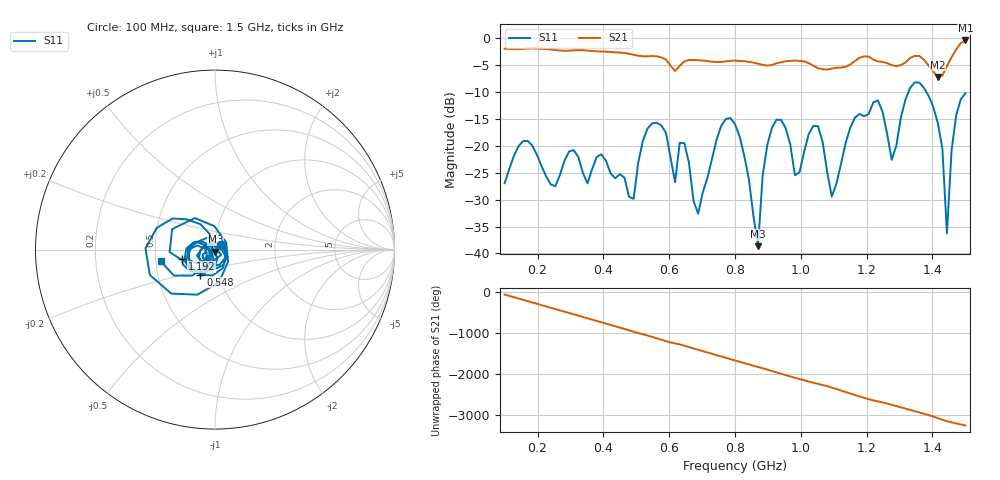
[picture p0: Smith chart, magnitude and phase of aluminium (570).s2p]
! NanoVNA-App
! Date: 2025-09-25 14:59:43
! Start: 100MHz Stop: 1,5GHz Points: 101
! S-Parameter data: F S11 S21 S12 S22
# Hz S RI R 50
!  Frequency  S11_Real  S11_Imag  S21_Real  S21_Imag  S12_Real  S12_Imag  S22_Real  S22_Imag
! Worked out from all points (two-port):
!   101 points, 100 MHz to 1.5 GHz, reference 50 ohm
!   highest |S21| = -0.40 dB at 1.5 GHz (marker M1); lowest = -7.2 dB at 1.416 GHz (marker M2)
!   |S21| within 3 dB of the highest: start of sweep to 565.6 MHz; 1.459 GHz to end of sweep (the widest 2 of 4)
!   lowest |S11| = -38.6 dB at 870 MHz (marker M3), VSWR 1.02, Z = 50.2 - j1.16 ohm
!   |S11| at or under -10 dB: start of sweep to 1.327 GHz; 1.382 GHz to end of sweep
!   S12 and S22 are empty: the file has one direction only
!   S11 on the Smith chart (normalised r, x): 100 MHz: 1.07, +0.06; 548 MHz: 0.82, -0.23; 1.192 GHz: 0.69, -0.07; 1.5 GHz: 0.53, -0.08
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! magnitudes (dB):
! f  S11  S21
! 100 MHz  -27.0  -1.9
! 156 MHz  -19.1  -2.0
! 338 MHz  -25.1  -2.2
! 492 MHz  -29.9  -3.1
! 548 MHz  -15.8  -3.3
! 576 MHz  -16.2  -3.5
! 646 MHz  -19.5  -4.3
! 688 MHz  -32.6  -4.1
! 800 MHz  -16.0  -4.1
! 870 MHz  -38.6  -4.7
! 912 MHz  -16.7  -5.0
! 982 MHz  -25.5  -4.1
! 1.038 GHz  -16.3  -5.1
! 1.094 GHz  -29.4  -5.6
! 1.192 GHz  -14.5  -3.4
! 1.234 GHz  -11.5  -4.3
! 1.276 GHz  -22.6  -5.0
! 1.346 GHz  -8.2  -3.3
! 1.416 GHz  -15.7  -7.2
! 1.444 GHz  -36.3  -5.2
! 1.472 GHz  -14.3  -2.1
! 1.5 GHz  -10.2  -0.4
